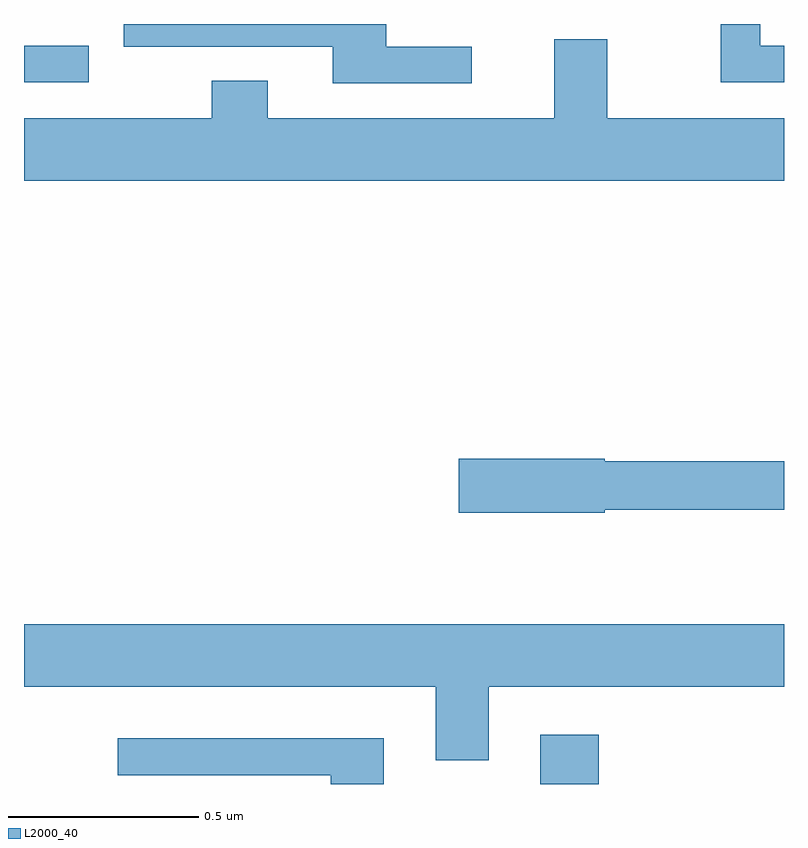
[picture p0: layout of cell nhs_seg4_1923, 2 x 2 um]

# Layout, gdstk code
import gdstk
lib = gdstk.Library(unit=1e-6, precision=1e-09)
def R(c, l, rs):  # rectangles x0, y0, x1, y1
    for r in rs: c.add(gdstk.rectangle(r[:2], r[2:], *l))
def P(c, l, *ps):  # polygons
    for p in ps: c.add(gdstk.Polygon(p, *l))
L2000_40 = (2000, 40)

nhs_seg4_1923 = lib.new_cell('nhs_seg4_1923')
R(nhs_seg4_1923, L2000_40, [(135.359,793.9,135.512,794.029), (134,795.747,134.17,795.843)])
P(nhs_seg4_1923, L2000_40, [(135.178,795.84),(134.953,795.84),(134.953,795.9),(134.262,795.9),(134.262,795.84),(134.813,795.84),(134.813,795.744),(135.178,795.744)],
  [(136,795.843),(135.937,795.843),(135.937,795.9),(135.833,795.9),(135.833,795.747),(136,795.747)],
  [(136,795.652),(135.535,795.652),(135.535,795.86),(135.395,795.86),(135.395,795.652),(134.641,795.652),(134.641,795.751),(134.494,795.751),(134.494,795.652),(134,795.652),(134,795.488),(136,795.488)],
  [(135.528,794.622),(136,794.622),(136,794.75),(135.528,794.75),(135.528,794.756),(135.144,794.756),(135.144,794.614),(135.528,794.614)],
  [(135.223,794.156),(136,794.156),(136,794.32),(134,794.32),(134,794.156),(135.083,794.156),(135.083,793.962),(135.223,793.962)],
  [(134.947,794.02),(134.247,794.02),(134.247,793.923),(134.807,793.923),(134.807,793.9),(134.947,793.9)])

lib.write_gds('nhs_seg4_1923.gds')
